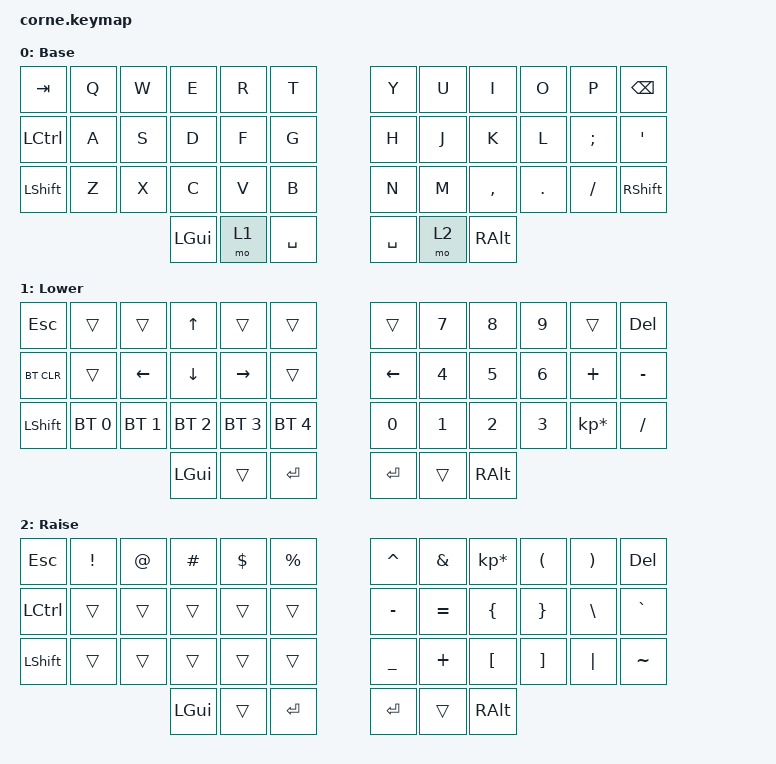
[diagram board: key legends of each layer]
/*
 * Copyright (c) 2020 The ZMK Contributors
 *
 * SPDX-License-Identifier: MIT
 */

#include <behaviors.dtsi>
#include <dt-bindings/zmk/keys.h>
#include <dt-bindings/zmk/bt.h>

/ {
        keymap {
                compatible = "zmk,keymap";

                default_layer {
// -----------------------------------------------------------------------------------------
// |  TAB |  Q  |  W  |  E  |  R  |  T  |   |  Y  |  U   |  I  |  O  |  P  | BKSP |
// | CTRL |  A  |  S  |  D  |  F  |  G  |   |  H  |  J   |  K  |  L  |  ;  |  '   |
// | SHFT |  Z  |  X  |  C  |  V  |  B  |   |  N  |  M   |  ,  |  .  |  /  | SHIFT|
//                    | GUI | LWR | SPC |   | SPC | RSE  | ALT |
                        display-name = "Base";
                        bindings = <
   &kp TAB   &kp Q &kp W &kp E &kp R &kp T   &kp Y &kp U  &kp I     &kp O   &kp P    &kp BSPC
   &kp LCTRL &kp A &kp S &kp D &kp F &kp G   &kp H &kp J  &kp K     &kp L   &kp SEMI &kp SQT
   &kp LSHFT &kp Z &kp X &kp C &kp V &kp B   &kp N &kp M  &kp COMMA &kp DOT &kp FSLH &kp RSHFT
                  &kp LGUI &mo 1 &kp SPACE   &kp SPACE &mo 2 &kp RALT
                        >;
                };
                lower_layer {
// -----------------------------------------------------------------------------------------
// |  ESC |     |     |  UP |     |     |   |     |  7  |  8  |  9  |     | BKSP |
// | BTCLR|     | LFT | DWN | RGT |     |   | LFT |  4  |  5  |  6  |  +  |   -  |
// | SHFT | BT1 | BT2 | BT3 | BT4 | BT5 |   |  0  |  1  |  2  |  3  |  *  |   /  |
//                    | GUI |     | ENT |   | ENT |     | ALT |
                        display-name = "Lower";
                        bindings = <
   &kp ESC    &trans &trans  &kp UP  &trans  &trans         &trans   &kp N7   &kp N8 &kp N9    &trans &kp DEL
   &bt BT_CLR &trans &kp LEFT &kp DOWN &kp RIGHT &trans    &kp LEFT &kp N4 &kp N5 &kp N6 &kp PLUS &kp MINUS
   &kp LSHFT  &bt BT_SEL 0 &bt BT_SEL 1 &bt BT_SEL 2 &bt BT_SEL 3 &bt BT_SEL 4         &kp N0   &kp N1   &kp N2 &kp N3    &kp KP_MULTIPLY &kp FSLH
                          	        &kp LGUI     &trans       &kp RET      &kp RET  &trans   &kp RALT
                        >;
                };

                raise_layer {
// -----------------------------------------------------------------------------------------
// | ESC  |  !  |  @  |  #  |  $  |  %  |   |  ^  |  &  |  *  |  (  |  )  | BKSP |
// | CTRL |     |     |     |     |     |   |  -  |  =  |  {  |  }  |  \  |  `   |
// | SHFT |     |     |     |     |     |   |  _  |  +  |  [  |  ]  | "|" |  ~   |
//                    | GUI |     | ENT |   | ENT |     | ALT |
                        display-name = "Raise";
                        bindings = <
   &kp ESC  &kp EXCL &kp AT &kp HASH &kp DLLR &kp PRCNT   &kp CARET &kp AMPS  &kp KP_MULTIPLY &kp LPAR &kp RPAR &kp DEL
   &kp LCTRL &trans   &trans &trans   &trans   &trans      &kp MINUS &kp EQUAL &kp LBRC        &kp RBRC &kp BSLH &kp GRAVE
   &kp LSHFT &trans   &trans &trans   &trans   &trans      &kp UNDER &kp PLUS  &kp LBKT        &kp RBKT &kp PIPE &kp TILDE
                    	     &kp LGUI &trans   &kp RET   &kp RET   &trans    &kp RALT
                        >;
                };

                extra_1 {
                        status = "reserved";
                };

                extra_2 {
                        status = "reserved";
                };

                extra_3 {
                        status = "reserved";
                };
        };
};
